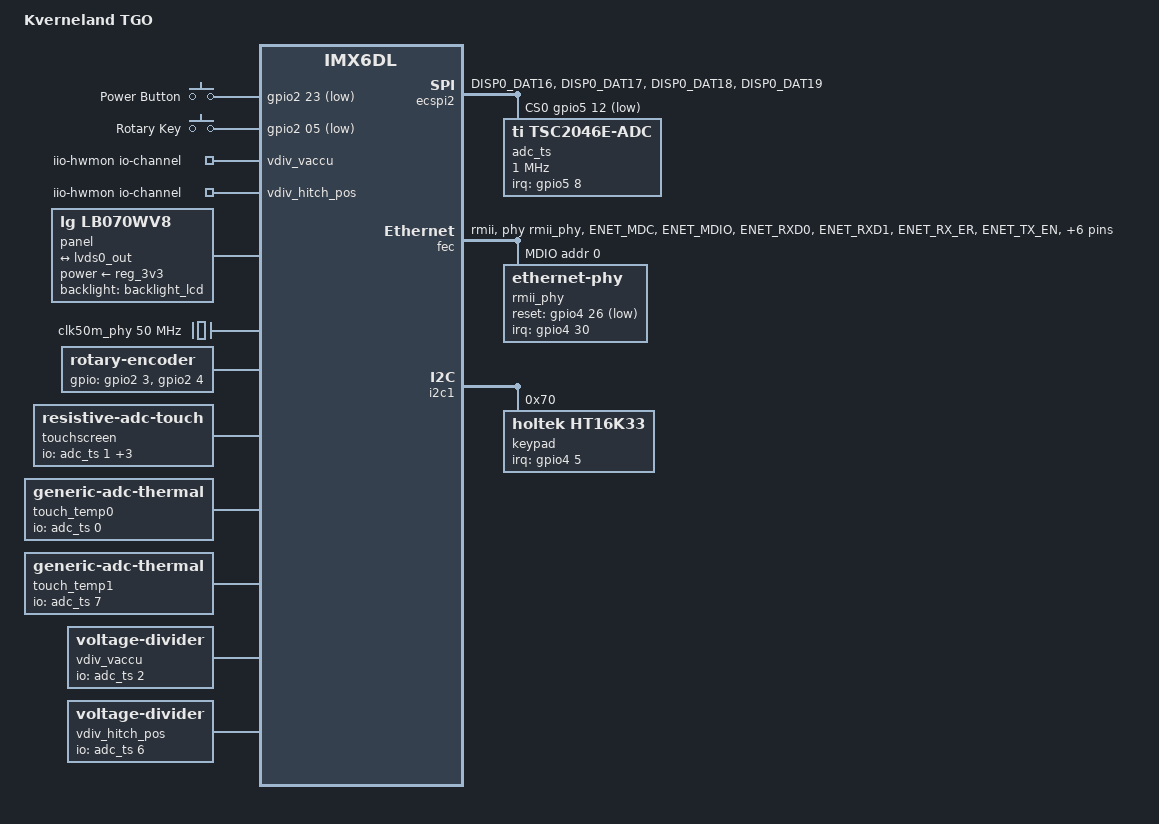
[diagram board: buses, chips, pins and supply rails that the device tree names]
// SPDX-License-Identifier: GPL-2.0-or-later OR MIT
/*
 * Copyright (c) 2016 Protonic Holland
 * Copyright (c) 2020 Oleksij Rempel <kernel@pengutronix.de>, Pengutronix
 */

/dts-v1/;
#include "imx6dl.dtsi"
#include "imx6qdl-vicut1.dtsi"

/ {
	model = "Kverneland TGO";
	compatible = "kvg,victgo", "fsl,imx6dl";

	gpio-keys {
		compatible = "gpio-keys";
		pinctrl-names = "default";
		pinctrl-0 = <&pinctrl_gpiokeys>;
		autorepeat;

		power {
			label = "Power Button";
			gpios = <&gpio2 23 GPIO_ACTIVE_LOW>;
			linux,code = <KEY_POWER>;
			wakeup-source;
		};

		enter {
			label = "Rotary Key";
			gpios = <&gpio2 05 GPIO_ACTIVE_LOW>;
			linux,code = <KEY_ENTER>;
			wakeup-source;
		};
	};

	iio-hwmon {
		compatible = "iio-hwmon";
		io-channels = <&vdiv_vaccu>, <&vdiv_hitch_pos>;
	};

	panel {
		compatible = "lg,lb070wv8";
		backlight = <&backlight_lcd>;
		power-supply = <&reg_3v3>;

		port {
			panel_in: endpoint {
				remote-endpoint = <&lvds0_out>;
			};
		};
	};

	clk50m_phy: phy-clock {
		compatible = "fixed-clock";
		#clock-cells = <0>;
		clock-frequency = <50000000>;
	};

	rotary-encoder {
		compatible = "rotary-encoder";
		pinctrl-0 = <&pinctrl_rotary_ch>;
		gpios = <&gpio2 3 GPIO_ACTIVE_HIGH>,
			<&gpio2 4 GPIO_ACTIVE_HIGH>;
		linux,axis = <REL_WHEEL>;
		rotary-encoder,steps-per-period = <4>;
		rotary-encoder,relative-axis;
		rotary-encoder,rollover;
		wakeup-source;
	};

	thermal-zones {
		chassis-thermal {
			polling-delay = <20000>;
			polling-delay-passive = <0>;
			thermal-sensors = <&tsens0>;
		};

		touch-thermal0 {
			polling-delay = <20000>;
			polling-delay-passive = <0>;
			thermal-sensors = <&touch_temp0>;
		};

		touch-thermal1 {
			polling-delay = <20000>;
			polling-delay-passive = <0>;
			thermal-sensors = <&touch_temp1>;
		};
	};

	touchscreen {
		compatible = "resistive-adc-touch";
		io-channels = <&adc_ts 1>, <&adc_ts 3>, <&adc_ts 4>,
                              <&adc_ts 5>;
		io-channel-names = "y", "z1", "z2", "x";
		touchscreen-min-pressure = <64687>;
		touchscreen-inverted-y;
		touchscreen-x-plate-ohms = <300>;
		touchscreen-y-plate-ohms = <800>;
	};

	touch_temp0: touch-temperature-sensor0 {
		compatible = "generic-adc-thermal";
		#thermal-sensor-cells = <0>;
		io-channels = <&adc_ts 0>;
		io-channel-names = "sensor-channel";
		temperature-lookup-table = <    (-40000) 736
						85000 474>;
	};

	touch_temp1: touch-temperature-sensor1 {
		compatible = "generic-adc-thermal";
		#thermal-sensor-cells = <0>;
		io-channels = <&adc_ts 7>;
		io-channel-names = "sensor-channel";
		temperature-lookup-table = <    (-40000) 826
						85000 609>;
	};

	vdiv_vaccu: voltage-divider-vaccu {
		compatible = "voltage-divider";
		io-channels = <&adc_ts 2>;
		output-ohms = <2500>;
		full-ohms = <64000>;
		#io-channel-cells = <0>;
	};

	vdiv_hitch_pos: voltage-divider-hitch-pos {
		compatible = "voltage-divider";
		io-channels = <&adc_ts 6>;
		output-ohms = <3300>;
		full-ohms = <13300>;
		#io-channel-cells = <0>;
	};
};

&ecspi2 {
	cs-gpios = <&gpio5 12 GPIO_ACTIVE_LOW>;
	pinctrl-names = "default";
	pinctrl-0 = <&pinctrl_ecspi2>;
	status = "okay";

	adc_ts: adc@0 {
		compatible = "ti,tsc2046e-adc";
		reg = <0>;
		pinctrl-0 = <&pinctrl_touchscreen>;
		pinctrl-names ="default";
		spi-max-frequency = <1000000>;
		interrupts-extended = <&gpio5 8 IRQ_TYPE_LEVEL_LOW>;
		#io-channel-cells = <1>;

		#address-cells = <1>;
		#size-cells = <0>;

		channel@1 {
			reg = <1>;
			settling-time-us = <700>;
			oversampling-ratio = <5>;
		};

		channel@3 {
			reg = <3>;
			settling-time-us = <700>;
			oversampling-ratio = <5>;
		};

		channel@4 {
			reg = <4>;
			settling-time-us = <700>;
			oversampling-ratio = <5>;
		};

		channel@5 {
			reg = <5>;
			settling-time-us = <700>;
			oversampling-ratio = <5>;
		};
	};
};

&fec {
	pinctrl-names = "default";
	pinctrl-0 = <&pinctrl_enet>;
	phy-mode = "rmii";
	clocks = <&clks IMX6QDL_CLK_ENET>,
		 <&clks IMX6QDL_CLK_ENET>,
		 <&clk50m_phy>;
	clock-names = "ipg", "ahb", "ptp";
	phy-handle = <&rmii_phy>;
	status = "okay";

	mdio {
		#address-cells = <1>;
		#size-cells = <0>;

		/* Microchip KSZ8081RNA PHY */
		rmii_phy: ethernet-phy@0 {
			reg = <0>;
			interrupts-extended = <&gpio4 30 IRQ_TYPE_LEVEL_LOW>;
			reset-gpios = <&gpio4 26 GPIO_ACTIVE_LOW>;
			reset-assert-us = <10000>;
			reset-deassert-us = <300>;
		};
	};
};

&gpio1 {
	gpio-line-names =
		"CAN1_TERM", "SD1_CD", "ITU656_RESET", "CAM1_MIRROR",
			"CAM2_MIRROR", "", "", "SMBALERT",
		"DEBUG_0", "DEBUG_1", "", "", "", "", "", "",
		"SD1_DATA0", "SD1_DATA1", "SD1_CMD", "SD1_DATA2", "SD1_CLK",
			"SD1_DATA3", "ETH_MDIO", "",
		"", "", "", "", "", "", "", "ETH_MDC";
};

&gpio4 {
	gpio-line-names =
		"", "", "", "", "", "", "UART4_TXD", "UART4_RXD",
		"UART5_TXD", "UART5_RXD", "CAN1_TX", "CAN1_RX", "CAN1_SR",
			"CAN2_SR", "CAN2_TX", "CAN2_RX",
		"", "", "DIP1_FB", "", "VCAM_EN", "ON1_CTRL", "ON2_CTRL",
			"HITCH_IN_OUT",
		"LIGHT_ON", "", "ETH_RESET", "CONTACT_IN", "BL_EN",
			"BL_PWM", "ETH_INT", "ISB_LED";
};

&gpio5 {
	gpio-line-names =
		"", "", "", "", "", "", "", "",
		"TSC_PENIRQ", "TSC_BUSY", "ECSPI2_MOSI", "ECSPI2_MISO",
			"ECSPI2_SS0", "ECSPI2_SCLK", "", "",
		"", "", "ITU656_CLK", "I2S_MCLK", "ITU656_PDN", "AUDIO_RESET",
			"I2S_BITCLK", "I2S_DOUT",
		"I2S_LRCLK", "I2S_DIN", "I2C1_SDA", "I2C1_SCL", "YACO_AUX_RX",
			"YACO_AUX_TX", "ITU656_D0", "ITU656_D1";
};

&gpio6 {
	gpio-line-names =
		"ITU656_D2", "ITU656_D3", "ITU656_D4", "ITU656_D5",
			"ITU656_D6", "ITU656_D7", "", "",
		"", "", "", "", "", "", "", "",
		"", "", "", "", "", "", "", "",
		"", "", "", "", "", "", "", "";
};

&i2c1 {
	keypad@70 {
		compatible = "holtek,ht16k33";
		pinctrl-names = "default";
		pinctrl-0 = <&pinctrl_keypad>;
		reg = <0x70>;
		refresh-rate-hz = <20>;
		debounce-delay-ms = <50>;
		interrupts-extended = <&gpio4 5 (IRQ_TYPE_LEVEL_HIGH | IRQ_TYPE_EDGE_RISING)>;
		keypad,num-rows = <12>;
		keypad,num-columns = <3>;
		linux,keymap = <
			MATRIX_KEY(2, 0, KEY_F6)
			MATRIX_KEY(3, 0, KEY_F8)
			MATRIX_KEY(4, 0, KEY_F10)
			MATRIX_KEY(5, 0, KEY_F4)
			MATRIX_KEY(6, 0, KEY_F2)
			MATRIX_KEY(2, 1, KEY_F5)
			MATRIX_KEY(3, 1, KEY_F7)
			MATRIX_KEY(4, 1, KEY_F9)
			MATRIX_KEY(5, 1, KEY_F3)
			MATRIX_KEY(6, 1, KEY_F1)
		      >;
	};
};

&iomuxc {
	pinctrl_ecspi2: ecspi2grp {
		fsl,pins = <
			MX6QDL_PAD_DISP0_DAT16__ECSPI2_MOSI		0x100b1
			MX6QDL_PAD_DISP0_DAT17__ECSPI2_MISO		0x100b1
			MX6QDL_PAD_DISP0_DAT18__GPIO5_IO12		0x100b1
			MX6QDL_PAD_DISP0_DAT19__ECSPI2_SCLK		0x100b1
		>;
	};

	pinctrl_enet: enetgrp {
		fsl,pins = <
			/* MX6QDL_ENET_PINGRP4 */
			MX6QDL_PAD_ENET_MDC__ENET_MDC			0x1b0b0
			MX6QDL_PAD_ENET_MDIO__ENET_MDIO			0x1b0b0
			MX6QDL_PAD_ENET_RXD0__ENET_RX_DATA0		0x1b0b0
			MX6QDL_PAD_ENET_RXD1__ENET_RX_DATA1		0x1b0b0
			MX6QDL_PAD_ENET_RX_ER__ENET_RX_ER		0x1b0b0
			MX6QDL_PAD_ENET_TX_EN__ENET_TX_EN		0x1b0b0
			MX6QDL_PAD_ENET_TXD0__ENET_TX_DATA0		0x1b0b0
			MX6QDL_PAD_ENET_TXD1__ENET_TX_DATA1		0x1b0b0
			MX6QDL_PAD_ENET_CRS_DV__ENET_RX_EN		0x1b0b0
			MX6QDL_PAD_GPIO_16__ENET_REF_CLK		0x1b0b0
			/* Phy reset */
			MX6QDL_PAD_DISP0_DAT5__GPIO4_IO26		0x1b0b0
			/* nINTRP */
			MX6QDL_PAD_DISP0_DAT9__GPIO4_IO30		0x1b0b0
		>;
	};

	pinctrl_gpiokeys: gpiokeygrp {
		fsl,pins = <
			/* ROTARY_BTN */
			MX6QDL_PAD_NANDF_D5__GPIO2_IO05			0x1b0b0
			/* nON_SWITCH */
			MX6QDL_PAD_EIM_CS0__GPIO2_IO23			0x1b0b0
		>;
	};

	pinctrl_keypad: keypadgrp {
		fsl,pins = <
			MX6QDL_PAD_GPIO_19__GPIO4_IO05			0x1b0b0
		>;
	};

	pinctrl_rotary_ch: rotarychgrp {
		fsl,pins = <
			MX6QDL_PAD_NANDF_D3__GPIO2_IO03			0x1b0b0
			MX6QDL_PAD_NANDF_D4__GPIO2_IO04			0x1b0b0
		>;
	};

	pinctrl_touchscreen: touchscreengrp {
		fsl,pins = <
			MX6QDL_PAD_DISP0_DAT14__GPIO5_IO08		0x1b0b0
			MX6QDL_PAD_DISP0_DAT15__GPIO5_IO09		0x1b0b0
		>;
	};
};
